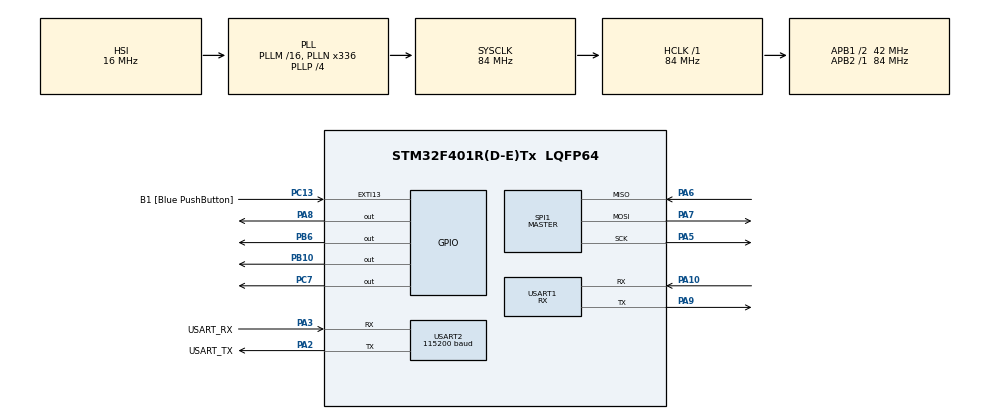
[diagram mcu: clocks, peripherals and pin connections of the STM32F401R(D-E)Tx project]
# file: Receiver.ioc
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Mcu.Family=STM32F4
Mcu.Name=STM32F401R(D-E)Tx
Mcu.Package=LQFP64
NVIC.PriorityGroup=NVIC_PRIORITYGROUP_0
PA10.Mode=Asynchronous
PA10.Signal=USART1_RX
PA13.GPIO_Label=TMS
PA13.Mode=Serial_Wire
PA13.Signal=SYS_JTMS-SWDIO
PA14.GPIO_Label=TCK
PA14.Mode=Serial_Wire
PA14.Signal=SYS_JTCK-SWCLK
PA2.GPIO_Label=USART_TX
PA2.GPIO_Mode=GPIO_MODE_AF_PP
PA2.GPIO_PuPd=GPIO_NOPULL
PA2.GPIO_Speed=GPIO_SPEED_FREQ_LOW
PA2.Mode=Asynchronous
PA2.Signal=USART2_TX
PA3.GPIO_Label=USART_RX
PA3.GPIO_Mode=GPIO_MODE_AF_PP
PA3.GPIO_PuPd=GPIO_NOPULL
PA3.GPIO_Speed=GPIO_SPEED_FREQ_LOW
PA3.Mode=Asynchronous
PA3.Signal=USART2_RX
PA5.Mode=Full_Duplex_Master
PA5.Signal=SPI1_SCK
PA6.Mode=Full_Duplex_Master
PA6.Signal=SPI1_MISO
PA7.Mode=Full_Duplex_Master
PA7.Signal=SPI1_MOSI
PA8.Signal=GPIO_Output
PA9.Mode=Asynchronous
PA9.Signal=USART1_TX
PB10.Signal=GPIO_Output
PB3.GPIO_Label=SWO
PB3.Signal=SYS_JTDO-SWO
PB6.Signal=GPIO_Output
PC13-ANTI_TAMP.GPIO_Label=B1 [Blue PushButton]
PC13-ANTI_TAMP.GPIO_ModeDefaultEXTI=GPIO_MODE_IT_FALLING
PC13-ANTI_TAMP.GPIO_PuPd=GPIO_NOPULL
PC13-ANTI_TAMP.Signal=GPXTI13
PC14-OSC32_IN.Mode=LSE-External-Oscillator
PC14-OSC32_IN.Signal=RCC_OSC32_IN
PC15-OSC32_OUT.Mode=LSE-External-Oscillator
PC15-OSC32_OUT.Signal=RCC_OSC32_OUT
PC7.Signal=GPIO_Output
PH0\ -\ OSC_IN.Mode=HSE-External-Clock-Source
PH0\ -\ OSC_IN.Signal=RCC_OSC_IN
PH1\ -\ OSC_OUT.Mode=HSE-External-Clock-Source
PH1\ -\ OSC_OUT.Signal=RCC_OSC_OUT
ProjectManager.HeapSize=0x200
ProjectManager.StackSize=0x400
ProjectManager.TargetToolchain=STM32CubeIDE
RCC.48MHZClocksFreq_Value=48000000
RCC.AHBFreq_Value=84000000
RCC.APB1CLKDivider=RCC_HCLK_DIV2
RCC.APB1Freq_Value=42000000
RCC.APB1TimFreq_Value=84000000
RCC.APB2Freq_Value=84000000
RCC.APB2TimFreq_Value=84000000
RCC.CortexFreq_Value=84000000
RCC.HCLKFreq_Value=84000000
RCC.HSE_VALUE=8000000
RCC.HSI_VALUE=16000000
RCC.PLLN=336
RCC.PLLP=RCC_PLLP_DIV4
RCC.PLLQ=7
RCC.SYSCLKFreq_VALUE=84000000
RCC.SYSCLKSource=RCC_SYSCLKSOURCE_PLLCLK
RCC.VCOOutputFreq_Value=336000000
SPI1.BaudRatePrescaler=SPI_BAUDRATEPRESCALER_16
SPI1.Direction=SPI_DIRECTION_2LINES
SPI1.Mode=SPI_MODE_MASTER
SPI1.VirtualType=VM_MASTER
USART1.Mode=MODE_RX
USART1.VirtualMode=VM_ASYNC
USART2.BaudRate=115200
USART2.VirtualMode=VM_ASYNC
board=NUCLEO-F401RE

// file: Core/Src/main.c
/* USER CODE BEGIN Header */
/**
  ******************************************************************************
  * @file           : main.c
  * @brief          : Main program body
  ******************************************************************************
  * @attention
  *
  * Copyright (c) 2024 STMicroelectronics.
  * All rights reserved.
  *
  * This software is licensed under terms that can be found in the LICENSE file
  * in the root directory of this software component.
  * If no LICENSE file comes with this software, it is provided AS-IS.
  *
  ******************************************************************************
  */
/* USER CODE END Header */
#include "main.h"

/* USER CODE BEGIN Includes */

#include <string.h>
/* USER CODE END Includes */

SPI_HandleTypeDef hspi1;

UART_HandleTypeDef huart1;
UART_HandleTypeDef huart2;

void SystemClock_Config(void);
static void MX_GPIO_Init(void);
static void MX_USART2_UART_Init(void);
static void MX_SPI1_Init(void);
static void MX_USART1_UART_Init(void);

/* USER CODE BEGIN 0 */
uint8_t RxAddress[] = {0xEE, 0XDD, 0XCC, 0XBB, 0xAA};
uint8_t RxBuf[2];
/* USER CODE END 0 */

int main(void)
{

  /* MCU Configuration--------------------------------------------------------*/

  /* Reset of all peripherals, Initializes the Flash interface and the Systick. */
  HAL_Init();

  /* Configure the system clock */
  SystemClock_Config();

  /* Initialize all configured peripherals */
  MX_GPIO_Init();
  MX_USART2_UART_Init();
  MX_SPI1_Init();
  MX_USART1_UART_Init();
  /* USER CODE BEGIN 2 */
  int alarm_tick = 0;
  uint16_t data;
  /* USER CODE END 2 */

  /* Infinite loop */
  while (1)
  {

    /* USER CODE BEGIN 3 */
	  if (HAL_GPIO_ReadPin(GPIOC, GPIO_PIN_13) == GPIO_PIN_RESET){
		  HAL_GPIO_WritePin(GPIOB, GPIO_PIN_6, GPIO_PIN_SET);
		  HAL_GPIO_WritePin(GPIOC, GPIO_PIN_7, GPIO_PIN_SET);
		  continue;
	  }
	  else{
		  HAL_GPIO_WritePin(GPIOB, GPIO_PIN_6, GPIO_PIN_RESET);
		  HAL_GPIO_WritePin(GPIOC, GPIO_PIN_7, GPIO_PIN_RESET);
	  }
	  if (HAL_UART_Receive(&huart1, RxBuf, 2, 100) == HAL_OK){
		  data = *((uint16_t *)RxBuf);
		  char test_data[32];
		  sprintf(test_data, " %d \r \n", data);
		  HAL_UART_Transmit(&huart2, test_data, strlen((char *)test_data), 1000);
		  if (data == 0xFFFF){
			  HAL_GPIO_WritePin(GPIOB, GPIO_PIN_6, GPIO_PIN_SET);
			  HAL_GPIO_WritePin(GPIOC, GPIO_PIN_7, GPIO_PIN_SET);
			  HAL_Delay(400);
			  HAL_GPIO_WritePin(GPIOB, GPIO_PIN_6, GPIO_PIN_RESET);
			  HAL_GPIO_WritePin(GPIOC, GPIO_PIN_7, GPIO_PIN_RESET);
			  HAL_Delay(400);
			  continue;
		  }

		  if (data >= 70){
			  alarm_tick = 150;
		  }
		  if (alarm_tick >= 1){
			  HAL_GPIO_WritePin(GPIOB, GPIO_PIN_6, GPIO_PIN_SET);
			  HAL_Delay(400);
			  HAL_GPIO_WritePin(GPIOB, GPIO_PIN_6, GPIO_PIN_RESET);
			  HAL_Delay(400);
			  alarm_tick --;
		  }
		  else
		  {
			  HAL_GPIO_WritePin(GPIOC, GPIO_PIN_7, GPIO_PIN_SET);
			  HAL_Delay(400);
			  HAL_GPIO_WritePin(GPIOC, GPIO_PIN_7, GPIO_PIN_RESET);
			  HAL_Delay(400);
		  }
	  }
  }
  /* USER CODE END 3 */
}

void SystemClock_Config(void)
{
  RCC_OscInitTypeDef RCC_OscInitStruct = {0};
  RCC_ClkInitTypeDef RCC_ClkInitStruct = {0};

  /** Configure the main internal regulator output voltage
  */
  __HAL_RCC_PWR_CLK_ENABLE();
  __HAL_PWR_VOLTAGESCALING_CONFIG(PWR_REGULATOR_VOLTAGE_SCALE2);

  /** Initializes the RCC Oscillators according to the specified parameters
  * in the RCC_OscInitTypeDef structure.
  */
  RCC_OscInitStruct.OscillatorType = RCC_OSCILLATORTYPE_HSI;
  RCC_OscInitStruct.HSIState = RCC_HSI_ON;
  RCC_OscInitStruct.HSICalibrationValue = RCC_HSICALIBRATION_DEFAULT;
  RCC_OscInitStruct.PLL.PLLState = RCC_PLL_ON;
  RCC_OscInitStruct.PLL.PLLSource = RCC_PLLSOURCE_HSI;
  RCC_OscInitStruct.PLL.PLLM = 16;
  RCC_OscInitStruct.PLL.PLLN = 336;
  RCC_OscInitStruct.PLL.PLLP = RCC_PLLP_DIV4;
  RCC_OscInitStruct.PLL.PLLQ = 7;
  if (HAL_RCC_OscConfig(&RCC_OscInitStruct) != HAL_OK)
  {
    Error_Handler();
  }

  /** Initializes the CPU, AHB and APB buses clocks
  */
  RCC_ClkInitStruct.ClockType = RCC_CLOCKTYPE_HCLK|RCC_CLOCKTYPE_SYSCLK
                              |RCC_CLOCKTYPE_PCLK1|RCC_CLOCKTYPE_PCLK2;
  RCC_ClkInitStruct.SYSCLKSource = RCC_SYSCLKSOURCE_PLLCLK;
  RCC_ClkInitStruct.AHBCLKDivider = RCC_SYSCLK_DIV1;
  RCC_ClkInitStruct.APB1CLKDivider = RCC_HCLK_DIV2;
  RCC_ClkInitStruct.APB2CLKDivider = RCC_HCLK_DIV1;

  if (HAL_RCC_ClockConfig(&RCC_ClkInitStruct, FLASH_LATENCY_2) != HAL_OK)
  {
    Error_Handler();
  }
}

static void MX_SPI1_Init(void)
{

  /* SPI1 parameter configuration*/
  hspi1.Instance = SPI1;
  hspi1.Init.Mode = SPI_MODE_MASTER;
  hspi1.Init.Direction = SPI_DIRECTION_2LINES;
  hspi1.Init.DataSize = SPI_DATASIZE_8BIT;
  hspi1.Init.CLKPolarity = SPI_POLARITY_LOW;
  hspi1.Init.CLKPhase = SPI_PHASE_1EDGE;
  hspi1.Init.NSS = SPI_NSS_SOFT;
  hspi1.Init.BaudRatePrescaler = SPI_BAUDRATEPRESCALER_16;
  hspi1.Init.FirstBit = SPI_FIRSTBIT_MSB;
  hspi1.Init.TIMode = SPI_TIMODE_DISABLE;
  hspi1.Init.CRCCalculation = SPI_CRCCALCULATION_DISABLE;
  hspi1.Init.CRCPolynomial = 10;
  if (HAL_SPI_Init(&hspi1) != HAL_OK)
  {
    Error_Handler();
  }

}

static void MX_USART1_UART_Init(void)
{

  huart1.Instance = USART1;
  huart1.Init.BaudRate = 115200;
  huart1.Init.WordLength = UART_WORDLENGTH_8B;
  huart1.Init.StopBits = UART_STOPBITS_1;
  huart1.Init.Parity = UART_PARITY_NONE;
  huart1.Init.Mode = UART_MODE_RX;
  huart1.Init.HwFlowCtl = UART_HWCONTROL_NONE;
  huart1.Init.OverSampling = UART_OVERSAMPLING_16;
  if (HAL_UART_Init(&huart1) != HAL_OK)
  {
    Error_Handler();
  }

}

static void MX_USART2_UART_Init(void)
{

  huart2.Instance = USART2;
  huart2.Init.BaudRate = 115200;
  huart2.Init.WordLength = UART_WORDLENGTH_8B;
  huart2.Init.StopBits = UART_STOPBITS_1;
  huart2.Init.Parity = UART_PARITY_NONE;
  huart2.Init.Mode = UART_MODE_TX_RX;
  huart2.Init.HwFlowCtl = UART_HWCONTROL_NONE;
  huart2.Init.OverSampling = UART_OVERSAMPLING_16;
  if (HAL_UART_Init(&huart2) != HAL_OK)
  {
    Error_Handler();
  }

}

static void MX_GPIO_Init(void)
{
  GPIO_InitTypeDef GPIO_InitStruct = {0};

  /* GPIO Ports Clock Enable */
  __HAL_RCC_GPIOC_CLK_ENABLE();
  __HAL_RCC_GPIOH_CLK_ENABLE();
  __HAL_RCC_GPIOA_CLK_ENABLE();
  __HAL_RCC_GPIOB_CLK_ENABLE();

  /*Configure GPIO pin Output Level */
  HAL_GPIO_WritePin(GPIOB, GPIO_PIN_10|GPIO_PIN_6, GPIO_PIN_RESET);

  /*Configure GPIO pin Output Level */
  HAL_GPIO_WritePin(GPIOC, GPIO_PIN_7, GPIO_PIN_RESET);

  /*Configure GPIO pin Output Level */
  HAL_GPIO_WritePin(GPIOA, GPIO_PIN_8, GPIO_PIN_RESET);

  /*Configure GPIO pin : B1_Pin */
  GPIO_InitStruct.Pin = B1_Pin;
  GPIO_InitStruct.Mode = GPIO_MODE_IT_FALLING;
  GPIO_InitStruct.Pull = GPIO_NOPULL;
  HAL_GPIO_Init(B1_GPIO_Port, &GPIO_InitStruct);

  /*Configure GPIO pins : PB10 PB6 */
  GPIO_InitStruct.Pin = GPIO_PIN_10|GPIO_PIN_6;
  GPIO_InitStruct.Mode = GPIO_MODE_OUTPUT_PP;
  GPIO_InitStruct.Pull = GPIO_NOPULL;
  GPIO_InitStruct.Speed = GPIO_SPEED_FREQ_LOW;
  HAL_GPIO_Init(GPIOB, &GPIO_InitStruct);

  /*Configure GPIO pin : PC7 */
  GPIO_InitStruct.Pin = GPIO_PIN_7;
  GPIO_InitStruct.Mode = GPIO_MODE_OUTPUT_PP;
  GPIO_InitStruct.Pull = GPIO_NOPULL;
  GPIO_InitStruct.Speed = GPIO_SPEED_FREQ_LOW;
  HAL_GPIO_Init(GPIOC, &GPIO_InitStruct);

  /*Configure GPIO pin : PA8 */
  GPIO_InitStruct.Pin = GPIO_PIN_8;
  GPIO_InitStruct.Mode = GPIO_MODE_OUTPUT_PP;
  GPIO_InitStruct.Pull = GPIO_NOPULL;
  GPIO_InitStruct.Speed = GPIO_SPEED_FREQ_LOW;
  HAL_GPIO_Init(GPIOA, &GPIO_InitStruct);

}

void Error_Handler(void)
{
  __disable_irq();
  while (1)
  {
  }
}
